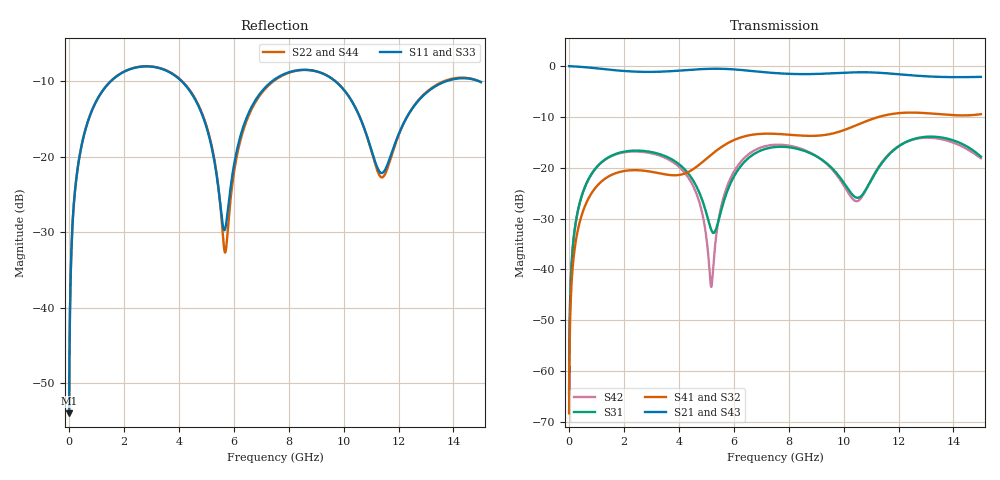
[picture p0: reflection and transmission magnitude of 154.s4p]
! Created with skrf 1.8.0 (http://scikit-rf.org).
# GHz S RI R 50.0
!freq ReS11 ImS11 ReS12 ImS12 ReS13 ImS13
! ReS14 ImS14
! ReS21 ImS21 ReS22 ImS22 ReS23 ImS23
! ReS24 ImS24
! ReS31 ImS31 ReS32 ImS32 ReS33 ImS33
! ReS34 ImS34
! ReS41 ImS41 ReS42 ImS42 ReS43 ImS43
! ReS44 ImS44
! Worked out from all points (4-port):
!   2499 points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, 5 MHz to 15 GHz, reference 50 ohm
!   strongest paths, dB at 5 MHz, 3.476 GHz, 7.19 GHz, 11.1 GHz, 15 GHz:
!     S21: 0.0, -1.1, -1.2, -1.3, -2.1
!     S43: 0.0, -1.1, -1.2, -1.3, -2.1
!     S41: -68.3, -21.3, -13.3, -10.3, -9.5
!     S32: -68.3, -21.3, -13.3, -10.3, -9.5
!     S31: -64.5, -17.7, -16.2, -21.6, -17.8
!     S42: -64.5, -18.0, -15.7, -21.4, -18.1
!   lowest |S11| = -54.0 dB at 5 MHz (marker M1), VSWR 1.00, Z = 50.2 + j0.122 ohm
!   |S11| at or under -10 dB: start of sweep to 1.521 GHz; 4.104 GHz to 7.394 GHz (3.29 GHz wide, 57.2 % of centre); 9.702 GHz to 13.73 GHz (4.027 GHz wide, 34.4 % of centre) (the widest 3 of 4)
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0.005  0.00159 0.00121  0.9984 -0.00309  7.81e-05 0.000589  -7.61e-05 -0.000375
       0.9984 -0.00309  0.00159 0.00121  -7.61e-05 -0.000375  7.8e-05 0.000589
       7.81e-05 0.000589  -7.61e-05 -0.000375  0.00159 0.00121  0.9984 -0.00309
       -7.61e-05 -0.000375  7.8e-05 0.000589  0.9984 -0.00309  0.00159 0.00121
0.3126303  0.0227 0.0799  0.9691 -0.1923  0.00993 0.0351  -0.00821 -0.0222
           0.9691 -0.1923  0.0227 0.0799  -0.00821 -0.0222  0.00961 0.0352
           0.00993 0.0351  -0.00821 -0.0222  0.0227 0.0799  0.9691 -0.1923
           -0.00821 -0.0222  0.00961 0.0352  0.9691 -0.1923  0.0227 0.0799
1.569404  0.2645 0.1843  0.5636 -0.7225  0.1198 0.0557  -0.085 -0.00872
          0.5636 -0.7225  0.2658 0.1835  -0.085 -0.00875  0.1156 0.0612
          0.1198 0.0557  -0.085 -0.00875  0.2645 0.1843  0.5636 -0.7225
          -0.085 -0.00872  0.1156 0.0612  0.5636 -0.7225  0.2658 0.1835
5.18341  0.0598 -0.1019  -0.8849 -0.3207  -0.0219 -0.0109  -0.0413 0.128
         -0.8849 -0.3207  0.0526 -0.1092  -0.0419 0.1278  0.00663 0.00101
         -0.0219 -0.0109  -0.0419 0.1278  0.0586 -0.1018  -0.8851 -0.3205
         -0.0413 0.128  0.00663 0.00101  -0.8851 -0.3205  0.0534 -0.1084
8.803668  0.3727 -0.038  0.0225 0.8346  0.1082 -0.0861  0.1972 -0.0585
          0.0225 0.8346  0.3723 -0.0341  0.1975 -0.0574  0.1097 -0.087
          0.1082 -0.0861  0.1975 -0.0574  0.3745 -0.0367  0.0225 0.8339
          0.1972 -0.0585  0.1097 -0.087  0.0225 0.8339  0.3738 -0.0355
11.56107  0.083 0.0209  0.8503 0.0192  0.0175 0.1252  -0.00597 -0.3302
          0.8503 0.0192  0.0777 0.0213  -0.0034 -0.3305  0.0172 0.1276
          0.0175 0.1252  -0.0034 -0.3305  0.0816 0.0204  0.8502 0.0196
          -0.00597 -0.3302  0.0172 0.1276  0.8502 0.0196  0.0795 0.0198
15  0.3053 -0.0705  -0.1606 -0.7666  0.0379 -0.1228  -0.321 0.1006
    -0.1606 -0.7666  0.3014 -0.0815  -0.322 0.0974  0.0289 -0.1205
    0.0379 -0.1228  -0.322 0.0974  0.3099 -0.0694  -0.1597 -0.7653
    -0.321 0.1006  0.0289 -0.1205  -0.1597 -0.7653  0.3051 -0.0844
